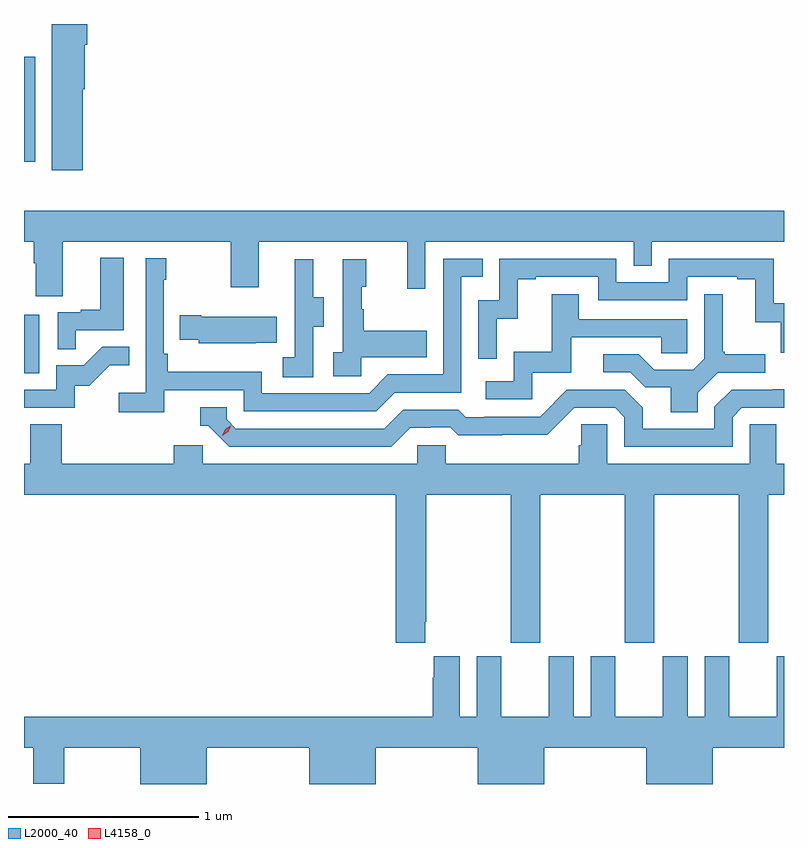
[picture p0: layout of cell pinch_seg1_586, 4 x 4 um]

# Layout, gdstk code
import gdstk
lib = gdstk.Library(unit=1e-6, precision=1e-09)
def R(c, l, rs):  # rectangles x0, y0, x1, y1
    for r in rs: c.add(gdstk.rectangle(r[:2], r[2:], *l))
def P(c, l, *ps):  # polygons
    for p in ps: c.add(gdstk.Polygon(p, *l))
L2000_40 = (2000, 40)
L4158_0 = (4158, 0)

pinch_seg1_586 = lib.new_cell('pinch_seg1_586')
R(pinch_seg1_586, L2000_40, [(1046.078,504.42,1046.158,504.727), (1046.078,505.534,1046.136,506.086)])
P(pinch_seg1_586, L2000_40, [(1046.386,505.914),(1046.398,505.914),(1046.398,506.15),(1046.411,506.15),(1046.411,506.258),(1046.225,506.258),(1046.225,505.488),(1046.386,505.488)],
  [(1046.281,505.112),(1047.166,505.112),(1047.166,504.873),(1047.313,504.873),(1047.313,505.112),(1048.094,505.112),(1048.094,504.864),(1048.191,504.864),(1048.191,505.112),(1049.286,505.112),(1049.286,504.985),(1049.382,504.985),(1049.382,505.112),(1050.078,505.112),(1050.078,505.276),(1046.078,505.276),(1046.078,505.112),(1046.129,505.112),(1046.129,505),(1046.141,505),(1046.141,504.826),(1046.281,504.826)],
  [(1046.351,504.645),(1046.602,504.645),(1046.602,505.027),(1046.48,505.027),(1046.48,504.754),(1046.377,504.754),(1046.377,504.741),(1046.256,504.741),(1046.256,504.547),(1046.351,504.547)],
  [(1046.816,504.33),(1047.234,504.33),(1047.234,504.219),(1047.931,504.219),(1048.03,504.318),(1048.38,504.318),(1048.38,504.927),(1048.493,504.927),(1048.493,505.023),(1048.284,505.023),(1048.284,504.414),(1047.993,504.414),(1047.894,504.315),(1047.33,504.315),(1047.33,504.427),(1046.834,504.427),(1046.834,504.523),(1046.814,504.523),(1046.814,504.911),(1046.827,504.911),(1046.827,505.024),(1046.718,505.024),(1046.718,504.316),(1046.577,504.316),(1046.577,504.214),(1046.816,504.214)],
  [(1048.566,504.707),(1048.676,504.707),(1048.676,504.915),(1048.771,504.915),(1048.771,504.927),(1049.1,504.927),(1049.1,504.804),(1049.568,504.804),(1049.568,504.927),(1049.831,504.927),(1049.831,504.915),(1049.927,504.915),(1049.927,504.689),(1050.06,504.689),(1050.06,504.528),(1050.078,504.528),(1050.078,504.787),(1050.024,504.787),(1050.024,505.023),(1049.472,505.023),(1049.472,504.9),(1049.196,504.9),(1049.196,505.023),(1048.578,505.023),(1048.578,504.804),(1048.47,504.804),(1048.47,504.495),(1048.566,504.495)],
  [(1047.6,504.664),(1047.655,504.664),(1047.655,504.819),(1047.601,504.819),(1047.601,505.021),(1047.503,505.021),(1047.503,504.807),(1047.504,504.807),(1047.504,504.503),(1047.441,504.503),(1047.441,504.4),(1047.6,504.4)],
  [(1047.852,504.503),(1048.199,504.503),(1048.199,504.643),(1047.865,504.643),(1047.865,504.758),(1047.855,504.758),(1047.855,504.876),(1047.88,504.876),(1047.88,505.021),(1047.756,505.021),(1047.756,504.53),(1047.705,504.53),(1047.705,504.405),(1047.852,504.405)],
  [(1048.752,504.423),(1048.957,504.423),(1048.957,504.609),(1049.431,504.609),(1049.431,504.525),(1049.568,504.525),(1049.568,504.705),(1048.999,504.705),(1048.999,504.835),(1048.855,504.835),(1048.855,504.532),(1048.656,504.532),(1048.656,504.378),(1048.509,504.378),(1048.509,504.282),(1048.752,504.282)],
  [(1049.623,504.316),(1049.73,504.423),(1049.98,504.423),(1049.98,504.52),(1049.767,504.52),(1049.767,504.532),(1049.755,504.532),(1049.755,504.835),(1049.658,504.835),(1049.658,504.495),(1049.601,504.438),(1049.395,504.438),(1049.314,504.519),(1049.127,504.519),(1049.127,504.426),(1049.268,504.426),(1049.348,504.346),(1049.483,504.346),(1049.483,504.214),(1049.623,504.214)],
  [(1047.299,504.581),(1047.407,504.581),(1047.407,504.718),(1047.01,504.718),(1047.01,504.726),(1046.899,504.726),(1046.899,504.596),(1046.997,504.596),(1046.997,504.578),(1047.299,504.578)],
  [(1046.346,504.354),(1046.422,504.354),(1046.529,504.461),(1046.633,504.461),(1046.633,504.56),(1046.49,504.56),(1046.392,504.462),(1046.247,504.462),(1046.247,504.333),(1046.078,504.333),(1046.078,504.237),(1046.346,504.237)],
  [(1048.111,504.132),(1048.218,504.132),(1048.218,504.135),(1048.321,504.135),(1048.363,504.093),(1048.596,504.093),(1048.596,504.095),(1048.832,504.095),(1048.974,504.237),(1049.19,504.237),(1049.238,504.189),(1049.238,504.033),(1049.808,504.033),(1049.808,504.189),(1049.856,504.237),(1050.078,504.237),(1050.078,504.335),(1050.018,504.335),(1050.018,504.333),(1049.802,504.333),(1049.712,504.243),(1049.712,504.129),(1049.335,504.129),(1049.335,504.239),(1049.241,504.333),(1048.935,504.333),(1048.794,504.192),(1048.501,504.192),(1048.501,504.189),(1048.402,504.189),(1048.363,504.228),(1048.074,504.228),(1047.975,504.129),(1047.192,504.129),(1047.144,504.177),(1047.144,504.24),(1047.005,504.24),(1047.005,504.144),(1047.048,504.144),(1047.159,504.033),(1048.012,504.033)],
  [(1049.239,503.001),(1049.394,503.001),(1049.394,503.78),(1049.839,503.78),(1049.839,503.001),(1049.994,503.001),(1049.994,503.78),(1050.078,503.78),(1050.078,503.944),(1050.037,503.944),(1050.037,504.152),(1049.898,504.152),(1049.898,503.944),(1049.148,503.944),(1049.148,504.152),(1049.011,504.152),(1049.011,504.042),(1048.997,504.042),(1048.997,503.944),(1048.299,503.944),(1048.299,504.042),(1048.149,504.042),(1048.149,503.944),(1047.018,503.944),(1047.018,504.042),(1046.867,504.042),(1046.867,503.944),(1046.276,503.944),(1046.276,504.152),(1046.111,504.152),(1046.111,503.944),(1046.078,503.944),(1046.078,503.78),(1048.034,503.78),(1048.034,503.001),(1048.189,503.001),(1048.189,503.113),(1048.194,503.113),(1048.194,503.78),(1048.639,503.78),(1048.639,503.001),(1048.794,503.001),(1048.794,503.78),(1049.239,503.78)],
  [(1048.816,502.448),(1049.354,502.448),(1049.354,502.258),(1049.704,502.258),(1049.704,502.448),(1050.078,502.448),(1050.078,502.93),(1050.041,502.93),(1050.041,502.612),(1049.791,502.612),(1049.791,502.93),(1049.66,502.93),(1049.66,502.612),(1049.572,502.612),(1049.572,502.93),(1049.441,502.93),(1049.441,502.612),(1049.191,502.612),(1049.191,502.93),(1049.06,502.93),(1049.06,502.612),(1048.972,502.612),(1048.972,502.93),(1048.841,502.93),(1048.841,502.612),(1048.591,502.612),(1048.591,502.93),(1048.46,502.93),(1048.46,502.612),(1048.372,502.612),(1048.372,502.93),(1048.235,502.93),(1048.235,502.817),(1048.228,502.817),(1048.228,502.612),(1046.078,502.612),(1046.078,502.448),(1046.126,502.448),(1046.126,502.26),(1046.29,502.26),(1046.29,502.448),(1046.69,502.448),(1046.69,502.258),(1047.04,502.258),(1047.04,502.448),(1047.578,502.448),(1047.578,502.258),(1047.928,502.258),(1047.928,502.448),(1048.466,502.448),(1048.466,502.258),(1048.816,502.258)])
P(pinch_seg1_586, L4158_0, [(1047.121,504.091),(1047.121,504.091),(1047.136,504.124),(1047.167,504.144),(1047.167,504.144),(1047.167,504.144),(1047.152,504.111),(1047.121,504.091)])

lib.write_gds('pinch_seg1_586.gds')
